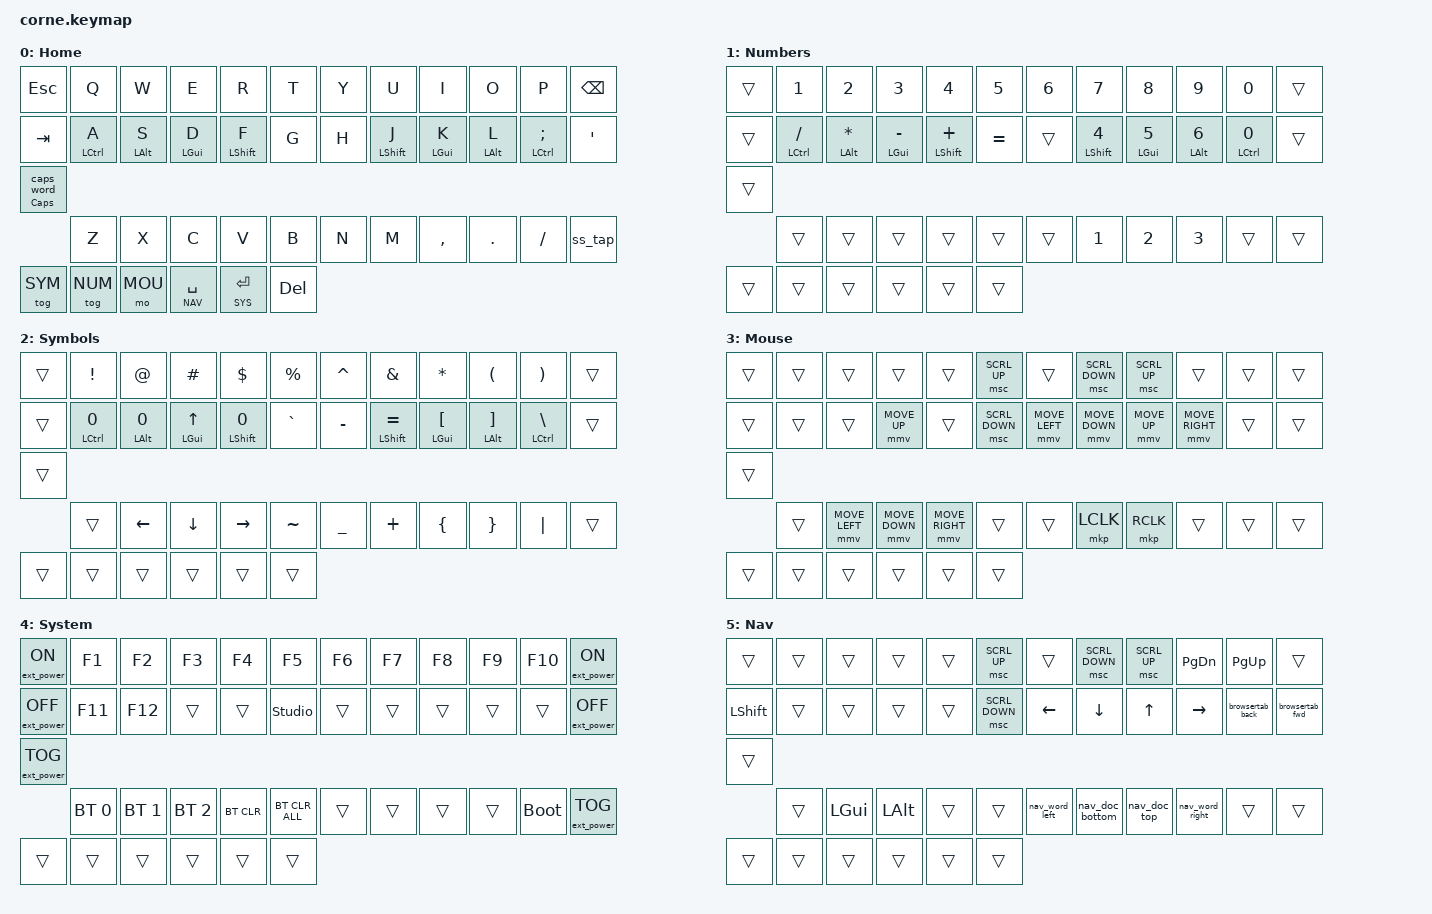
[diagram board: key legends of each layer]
#include <behaviors.dtsi>
#include <dt-bindings/zmk/bt.h>
#include <dt-bindings/zmk/keys.h>
#include <dt-bindings/zmk/pointing.h>
#include <dt-bindings/zmk/ext_power.h>

#define DEF 0
#define NUM 1
#define SYM 2
#define MOU 3
#define SYS 4
#define NAV 5

/ {
    behaviors {
        hm: homerow_mods {
            compatible = "zmk,behavior-hold-tap";
            #binding-cells = <2>;
            tapping-term-ms = <200>;
            flavor = "tap-preferred";
            bindings = <&kp>, <&kp>;

            quick-tap-ms = <180>;
            require-prior-idle-ms = <120>;
        };

        sp_nav: sp_nav {
            compatible = "zmk,behavior-hold-tap";
            #binding-cells = <2>;
            flavor = "hold-preferred";
            tapping-term-ms = <200>;
            bindings = <&mo>, <&kp>;
        };

        /*
         * Tap = Caps Word (smart, word-scoped caps)
         * Hold = Caps Lock (traditional toggle)
         *
         * Invocation: &cw_caps CAPSLOCK 0
         * - CAPSLOCK feeds the hold binding (&kp CAPSLOCK)
         * - 0 is ignored by &caps_word (it takes no params)
         */
        cw_caps: cw_caps {
            compatible = "zmk,behavior-hold-tap";
            #binding-cells = <2>;
            tapping-term-ms = <200>;
            flavor = "tap-preferred";
            bindings = <&kp>, <&caps_word>;

            quick-tap-ms = <180>;
            require-prior-idle-ms = <120>;
        };

        /* Tap-dance screenshot: tap=freeform (Cmd+Shift+4), double-tap=toolbar (Cmd+Shift+5) */
        ss_tap: ss_tap {
            compatible = "zmk,behavior-tap-dance";
            #binding-cells = <0>;
            bindings = <&ss_free>, <&ss_toolbar>;
        };

        para: para {
            compatible = "zmk,behavior-tap-dance";
            #binding-cells = <0>;
            bindings = <&kp LEFT_PARENTHESIS>, <&kp RIGHT_PARENTHESIS>;
        };

        caps: caps {
            compatible = "zmk,behavior-caps-word";
            #binding-cells = <0>;
            continue-list = <MINUS BACKSPACE>;
        };

        paraless: paraless {
            compatible = "zmk,behavior-mod-morph";
            #binding-cells = <0>;
            bindings = <&kp LEFT_PARENTHESIS>, <&kp LESS_THAN>;
            mods = <(MOD_LSFT)>;
        };

        paragreat: paragreat {
            compatible = "zmk,behavior-mod-morph";
            #binding-cells = <0>;
            bindings = <&kp RIGHT_PARENTHESIS>, <&kp GREATER_THAN>;
            mods = <(MOD_LSFT)>;
        };
    };

    macros {
        /* Browser: next tab (Ctrl+Tab) */
        browsertab_fwd: browsertab_fwd {
            compatible = "zmk,behavior-macro";
            #binding-cells = <0>;
            bindings =
                <&macro_press>,   <&kp LCTRL>,
                <&macro_tap>,     <&kp TAB>,
                <&macro_release>, <&kp LCTRL>;
        };

        /* Browser: previous tab (Ctrl+Shift+Tab) */
        browsertab_back: browsertab_back {
            compatible = "zmk,behavior-macro";
            #binding-cells = <0>;
            bindings =
                <&macro_press>,   <&kp LCTRL>,
                <&macro_press>,   <&kp LSHFT>,
                <&macro_tap>,     <&kp TAB>,
                <&macro_release>, <&kp LSHFT>,
                <&macro_release>, <&kp LCTRL>;
        };

        /* macOS screenshot freeform: Cmd+Shift+4 */
        ss_free: ss_free {
            compatible = "zmk,behavior-macro";
            #binding-cells = <0>;
            bindings =
                <&macro_press>,   <&kp LGUI>,
                <&macro_press>,   <&kp LSHFT>,
                <&macro_tap>,     <&kp N4>,
                <&macro_release>, <&kp LSHFT>,
                <&macro_release>, <&kp LGUI>;
        };

        /* macOS screenshot toolbar: Cmd+Shift+5 */
        ss_toolbar: ss_toolbar {
            compatible = "zmk,behavior-macro";
            #binding-cells = <0>;
            bindings =
                <&macro_press>,   <&kp LGUI>,
                <&macro_press>,   <&kp LSHFT>,
                <&macro_tap>,     <&kp N5>,
                <&macro_release>, <&kp LSHFT>,
                <&macro_release>, <&kp LGUI>;
        };

        /* Word-left/right (macOS Option+Arrow) */
        nav_word_left: nav_word_left {
            compatible = "zmk,behavior-macro";
            #binding-cells = <0>;
            bindings =
                <&macro_press>,   <&kp LALT>,
                <&macro_tap>,     <&kp LEFT_ARROW>,
                <&macro_release>, <&kp LALT>;
        };

        nav_word_right: nav_word_right {
            compatible = "zmk,behavior-macro";
            #binding-cells = <0>;
            bindings =
                <&macro_press>,   <&kp LALT>,
                <&macro_tap>,     <&kp RIGHT_ARROW>,
                <&macro_release>, <&kp LALT>;
        };

        /* Doc top/bottom (macOS Cmd+Arrow) */
        nav_doc_top: nav_doc_top {
            compatible = "zmk,behavior-macro";
            #binding-cells = <0>;
            bindings =
                <&macro_press>,   <&kp LGUI>,
                <&macro_tap>,     <&kp UP_ARROW>,
                <&macro_release>, <&kp LGUI>;
        };

        nav_doc_bottom: nav_doc_bottom {
            compatible = "zmk,behavior-macro";
            #binding-cells = <0>;
            bindings =
                <&macro_press>,   <&kp LGUI>,
                <&macro_tap>,     <&kp DOWN_ARROW>,
                <&macro_release>, <&kp LGUI>;
        };
    };

    combos {
        compatible = "zmk,combos";

        escape {
            bindings = <&kp ESCAPE>;
            key-positions = <13 29>;
        };

        delete {
            bindings = <&kp DELETE>;
            key-positions = <15 21>;
        };

        perc {
            bindings = <&kp PERCENT>;
            key-positions = <5 17>;
            layers = <0>;
        };

        equal {
            bindings = <&kp EQUAL>;
            key-positions = <28 16>;
            layers = <0>;
        };

        dollar {
            bindings = <&kp DOLLAR>;
            key-positions = <4 16>;
            layers = <0>;
        };

        pound {
            bindings = <&kp POUND>;
            key-positions = <3 15>;
            layers = <0>;
        };

        at {
            bindings = <&kp AT>;
            key-positions = <2 14>;
            layers = <0>;
        };

        backslash {
            bindings = <&kp BACKSLASH>;
            key-positions = <26 14>;
            layers = <0>;
        };

        star {
            bindings = <&kp STAR>;
            key-positions = <8 20>;
            layers = <0>;
        };

        slash {
            bindings = <&kp SLASH>;
            key-positions = <32 20>;
            layers = <0>;
        };

        plus {
            bindings = <&kp PLUS>;
            key-positions = <7 19>;
            layers = <0>;
        };

        minus {
            bindings = <&kp KP_MINUS>;
            key-positions = <31 19>;
            layers = <0>;
        };

        underscore {
            bindings = <&kp UNDER>;
            key-positions = <30 18>;
            layers = <0>;
        };

        leftbrack {
            bindings = <&kp LEFT_BRACKET>;
            key-positions = <31 32>;
            layers = <0>;
        };

        rightbrack {
            bindings = <&kp RIGHT_BRACKET>;
            key-positions = <33 32>;
            layers = <0>;
        };

        para-less {
            bindings = <&paraless>;
            key-positions = <20 19>;
            layers = <0>;
        };

        para-great {
            bindings = <&paragreat>;
            key-positions = <20 21>;
            layers = <0>;
        };
    };

    keymap {
        compatible = "zmk,keymap";

        DEF {
            display-name = "Home";
            bindings = <
                &kp ESCAPE      &kp Q           &kp W           &kp E           &kp R           &kp T              &kp Y           &kp U           &kp I           &kp O           &kp P           &kp BACKSPACE
                &kp TAB         &hm LCTRL A     &hm LALT S      &hm LGUI D      &hm LSHFT F     &kp G              &kp H           &hm LSHFT J     &hm LGUI K      &hm LALT L      &hm LCTRL SEMI  &kp SQT
                &cw_caps CAPSLOCK 0
                                &kp Z           &kp X           &kp C           &kp V           &kp B              &kp N           &kp M           &kp COMMA       &kp DOT         &kp FSLH        &ss_tap

                &tog SYM        &tog NUM        &mo MOU         &sp_nav NAV SPACE   &lt SYS RET   &kp DELETE
            >;
        };

        NUM {
            display-name = "Numbers";
            bindings = <
                &trans          &kp N1              &kp N2              &kp N3              &kp N4              &kp N5          &kp N6          &kp N7          &kp N8          &kp N9          &kp N0          &trans
                &trans          &hm LCTRL FSLH      &hm LALT STAR       &hm LGUI MINUS      &hm LSHFT PLUS      &kp EQUAL       &trans          &hm LSHFT N4     &hm LGUI N5      &hm LALT N6      &hm LCTRL N0     &trans
                &trans          &trans              &trans              &trans              &trans              &trans          &trans          &kp N1          &kp N2          &kp N3          &trans          &trans

                                                &trans          &trans          &trans          &trans          &trans          &trans
            >;
        };

        SYM {
            display-name = "Symbols";
            bindings = <
                &trans          &kp EXCL        &kp AT          &kp HASH        &kp DLLR         &kp PRCNT        &kp CARET       &kp AMPS        &kp ASTRK       &kp LEFT_PARENTHESIS   &kp RPAR        &trans
                &trans          &hm LCTRL N0    &hm LALT N0     &hm LGUI UP_ARROW   &hm LSHFT N0  &kp GRAVE       &kp MINUS       &hm LSHFT EQUAL &hm LGUI LBKT   &hm LALT RBKT          &hm LCTRL BSLH  &trans
                &trans          &trans          &kp LEFT_ARROW  &kp DOWN_ARROW  &kp RIGHT_ARROW  &kp TILDE        &kp UNDER       &kp PLUS        &kp LBRC        &kp RBRC               &kp PIPE        &trans

                                                &trans          &trans          &trans          &trans          &trans          &trans
            >;
        };

        MOU {
            display-name = "Mouse";
            bindings = <
                &trans          &trans           &trans           &trans           &trans           &msc SCRL_UP     &trans          &msc SCRL_DOWN   &msc SCRL_UP     &trans          &trans          &trans
                &trans          &trans           &trans           &mmv MOVE_UP     &trans           &msc SCRL_DOWN   &mmv MOVE_LEFT  &mmv MOVE_DOWN   &mmv MOVE_UP     &mmv MOVE_RIGHT  &trans          &trans
                &trans          &trans           &mmv MOVE_LEFT   &mmv MOVE_DOWN   &mmv MOVE_RIGHT  &trans           &trans          &mkp LCLK        &mkp RCLK        &trans          &trans          &trans

                                                &trans          &trans          &trans          &trans          &trans          &trans
            >;
        };

        SYS {
            display-name = "System";
            bindings = <
                &ext_power EP_ON   &kp F1        &kp F2        &kp F3        &kp F4        &kp F5          &kp F6        &kp F7        &kp F8        &kp F9        &kp F10       &ext_power EP_ON
                &ext_power EP_OFF  &kp F11       &kp F12       &trans        &trans        &studio_unlock  &trans        &trans        &trans        &trans        &trans        &ext_power EP_OFF
                &ext_power EP_TOG  &bt BT_SEL 0  &bt BT_SEL 1  &bt BT_SEL 2  &bt BT_CLR    &bt BT_CLR_ALL  &trans        &trans        &trans        &trans        &bootloader   &ext_power EP_TOG

                                                &trans          &trans          &trans          &trans          &trans          &trans
            >;
        };

        NAV {
            display-name = "Nav";
            bindings = <
                &trans          &trans          &trans          &trans          &trans          &msc SCRL_UP     &trans          &msc SCRL_DOWN          &msc SCRL_UP          &kp PAGE_DOWN   &kp PAGE_UP          &trans

                &kp LSHFT       &trans          &trans          &trans          &trans          &msc SCRL_DOWN   &kp LEFT_ARROW  &kp DOWN_ARROW  &kp UP_ARROW    &kp RIGHT_ARROW &browsertab_back &browsertab_fwd

                &trans          &trans          &kp LGUI        &kp LALT        &trans          &trans           &nav_word_left  &nav_doc_bottom &nav_doc_top    &nav_word_right &trans          &trans

                                                &trans          &trans          &trans          &trans          &trans          &trans
            >;
        };
    };
};
